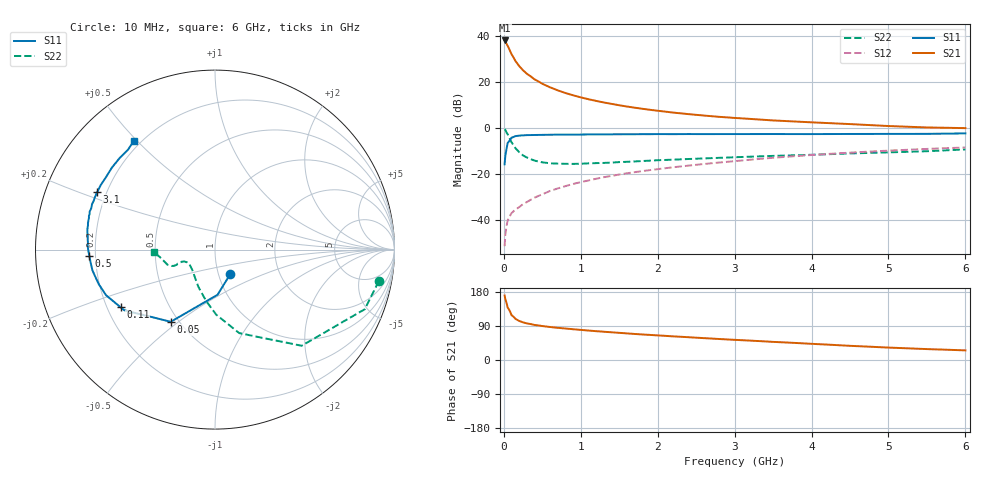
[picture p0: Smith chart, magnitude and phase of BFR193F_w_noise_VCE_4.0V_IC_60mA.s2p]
! Infineon Technologies  Discrete & RF Semiconductors
! BFR193F
! VCE =  4.0 V,  IC =  60 mA
! Common Emitter S-Parameters:  Jan 2017
# GHz  S  MA  R  50
!  f  S11  S21  S12  S22
! GHz  MAG  ANG  MAG  ANG  MAG  ANG  MAG  ANG
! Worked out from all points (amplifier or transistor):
!   77 points, 10 MHz to 6 GHz, reference 50 ohm
!   highest |S21| = 37.9 dB at 10 MHz (marker M1)
!   |S21| within 3 dB of that: start of sweep to 59.59 MHz
!   unconditionally stable (mu >= 1): 757 MHz to 2.465 GHz
!   at 130 MHz: K = 0.55, MSG = 33.2 dB, |S12| = -36.1 dB
!   at 2.2 GHz: K = 1.01, MAG = 11.1 dB, |S12| = -17.1 dB
!   at 6 GHz: K = 0.87, MSG = 4.2 dB, |S12| = -8.5 dB
!   lowest NFmin = 1.64 dB at 450 MHz
!   S11 on the Smith chart (normalised r, x): 10 MHz: 1.14, -0.32; 50 MHz: 0.45, -0.47; 110 MHz: 0.25, -0.26; 500 MHz: 0.18, -0.02; 3.1 GHz: 0.16, +0.23; 6 GHz: 0.17, +0.49
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0.01  0.1613 -58.3  78.37 170.1  0.0027 79.2  0.9296 -10.9
0.02  0.2522 -86.8  75.18 160.2  0.0049 75.7  0.8984 -21.7
0.05  0.4717 -121.5  59.79 138.1  0.0098 63.7  0.721 -48.0
0.1  0.6085 -146.3  39.36 118.2  0.0141 51.5  0.4845 -73.8
0.11  0.6165 -148.6  37.07 116.8  0.0146 52.2  0.458 -76.2
0.15  0.6581 -157.3  28.24 108.7  0.0167 54.6  0.3626 -88.9
0.2  0.6755 -163.4  21.76 103.0  0.019 57.8  0.2951 -98.9
0.25  0.6849 -167.6  17.63 99.3  0.0221 59.0  0.2508 -107.6
0.3  0.6928 -170.5  14.83 96.6  0.0245 61.9  0.2263 -114.3
0.4  0.6974 -174.6  11.21 92.4  0.0305 65.4  0.1936 -124.8
0.5  0.7014 -177.3  9.017 89.6  0.0359 68.5  0.1779 -132.4
0.6  0.7058 -179.6  7.55 87.1  0.0426 70.1  0.1697 -138.5
0.7  0.71 178.3  6.487 84.9  0.0482 71.3  0.1668 -142.7
0.8  0.7088 177.0  5.679 83.1  0.0541 72.5  0.165 -146.8
0.9  0.7118 175.3  5.065 81.2  0.0604 73.0  0.1646 -149.6
1.1  0.7164 172.6  4.161 77.7  0.072 73.9  0.1691 -153.2
1.5  0.7231 168.2  3.08 71.7  0.0968 74.3  0.1799 -158.0
2.1  0.7282 162.3  2.238 63.7  0.1327 73.8  0.2004 -159.9
3.1  0.7302 153.9  1.596 52.2  0.1955 71.4  0.2325 -158.4
4.1  0.7298 145.2  1.289 41.7  0.2629 66.8  0.2629 -160.0
5.1  0.7363 135.3  1.075 32.0  0.3247 60.9  0.2959 -168.6
6  0.7555 126.8  0.983 25.4  0.374 55.4  0.339 -177.4
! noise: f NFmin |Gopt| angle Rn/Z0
0.45  1.64  0.49  -178  0.08
0.9  1.73  0.5  -177  0.09
1.9  2.33  0.61  -162  0.1
2.4  2.66  0.62  -155  0.17
